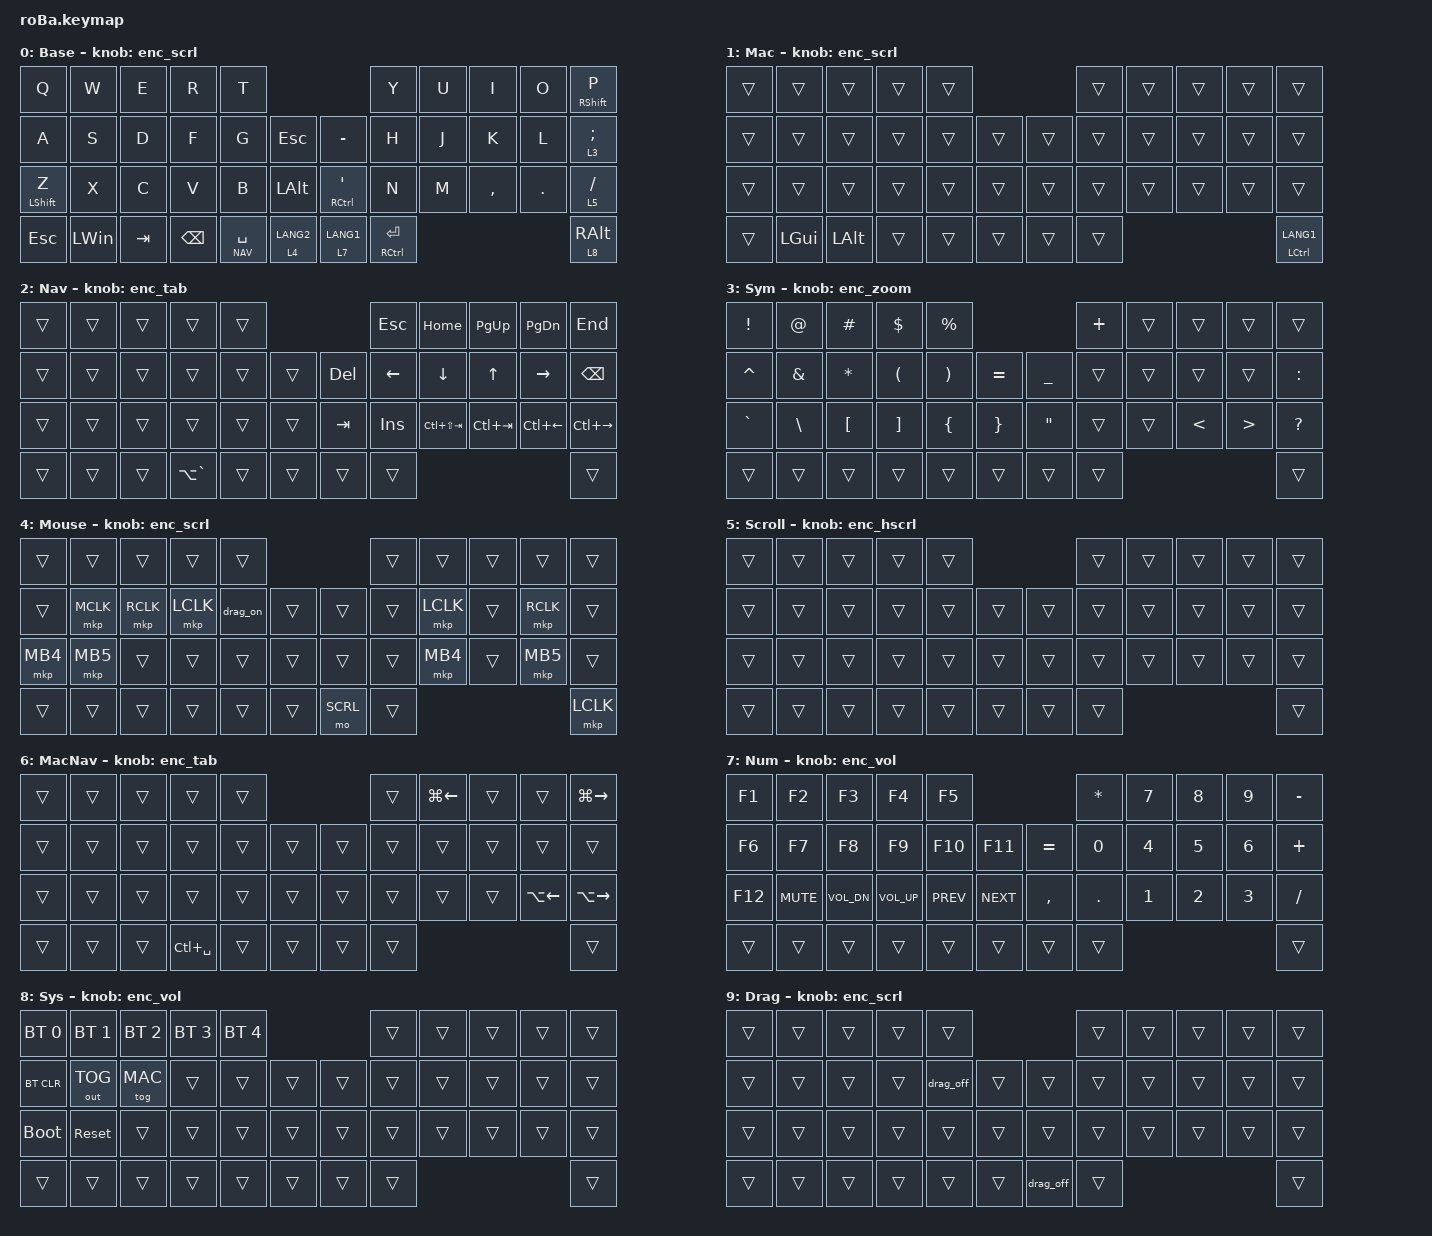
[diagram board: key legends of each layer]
/*
 * roBa keymap  (rev.4)
 *
 * rev.4 の変更点 ─ ドラッグを「普通のマウス」と同じにする
 *   左親指 内 を MOUSE レイヤーに変えた。MOUSE は scroll-layers に入れないので、
 *   押している間もボールはポインタのまま。つまり
 *       左親指 内 を押す → F（左クリック）を押しっぱなし → ボールを転がす
 *   がそのままドラッグになる。普通のマウスと同じ操作。
 *
 *   ボールでのスクロールは MOUSE ＋ 右親指 内 に移動した。
 *   （scroll-layers が有効な間はボールが必ずホイールになるドライバ仕様のため、
 *     「スクロール中だけクリックでポインタに戻す」ことは原理的にできない）
 *   エンコーダは従来どおり何も押さずに回すだけでスクロールする。
 *
 *   オートマウスレイヤーは rev.3 に続き無効。クリックは自分が押したときだけ出る。
 *
 * マウス操作の流れ
 *   ポインタ移動 : キーは何も押さない。ボールは常にポインタを動かす。
 *   クリック     : 左親指 内 ＋ F（左）/ D（右）/ S（中）、または位置42（左）。
 *   ドラッグ     : 左親指 内 ＋ F を押しっぱなし → ボールを転がす → 離してドロップ。
 *                  長距離は G（ドラッグロック）で指を離したまま運べる。
 *   スクロール   : 左親指 内 ＋ 右親指 内 を押しながらボールを転がす。
 *                  またはエンコーダを回す（キー不要）。
 *
 * 日本語入力
 *   英数(IME OFF) = 位置37 / かな(IME ON) = 位置42 のタップ。
 *   HID の LANG2 / LANG1 は Windows(10 1903以降) では VK_IME_OFF / VK_IME_ON、
 *   macOS では 英数 / かな に直結するので OS 別の分岐が要らない。
 *
 * 物理配列（キー位置番号）
 *   row0            0  1  2  3  4                5  6  7  8  9
 *   row1           10 11 12 13 14 15          16 17 18 19 20 21
 *   row2           22 23 24 25 26 27          28 29 30 31 32 33
 *   row3           34 35 36 37 [38 39]      [40 41] 42
 *                  └ 左手下段 ─┘ └左親指┘   └右親指┘ └右手下段
 */
/* エンコーダのスクロール量。既定10だと軽すぎる。
   マウスエミュレーションの既定値は include より「前」に定義すること */

#define ZMK_POINTING_DEFAULT_SCRL_VAL 20

#include <behaviors.dtsi>
#include <dt-bindings/zmk/bt.h>
#include <dt-bindings/zmk/keys.h>
#include <dt-bindings/zmk/outputs.h>
#include <dt-bindings/zmk/pointing.h>

#define BASE  0
#define MAC   1
#define NAV   2
#define SYM   3
#define MOUSE 4   /* ボール = ポインタのまま。scroll-layers に入れないこと */
#define SCRL  5   /* トラックボールが scroll-layers で直接参照する */
#define MNAV  6   /* MAC   + NAV */
#define NUM   7   /* NAV   + SYM */
#define SYS   8   /* MOUSE + SYM */
#define DRAG  9   /* ドラッグロック中だけ ON。必ず最上位に置く */

/ {
    behaviors {
        /* ---- ドラッグロック ----------------------------------------
           drag_on : 左クリックを「押しっぱなし」にして DRAG レイヤーを ON
           drag_off: 左クリックを離して DRAG レイヤーを OFF
           &macro_press で押した behavior は &macro_release されるまで
           解放されない（ZMK v0.3 の behavior_macro.c の仕様）。
           DRAG は最上位レイヤーなので、同じキー位置が自動的に
           drag_on → drag_off に切り替わり、1キートグルとして機能する。 */

        drag_on: drag_on {
            compatible = "zmk,behavior-macro";
            #binding-cells = <0>;
            bindings = <&macro_press>, <&mkp MB1>, <&macro_tap>, <&tog DRAG>;
        };

        drag_off: drag_off {
            compatible = "zmk,behavior-macro";
            #binding-cells = <0>;
            bindings = <&macro_release>, <&mkp MB1>, <&macro_tap>, <&tog DRAG>;
        };

        /* ---- ロータリーエンコーダ ---------------------------------- */

        enc_scrl: enc_scrl {
            compatible = "zmk,behavior-sensor-rotate";
            #sensor-binding-cells = <0>;
            bindings = <&msc SCRL_UP>, <&msc SCRL_DOWN>;

            tap-ms = <20>;
        };

        enc_hscrl: enc_hscrl {
            compatible = "zmk,behavior-sensor-rotate";
            #sensor-binding-cells = <0>;
            bindings = <&msc SCRL_RIGHT>, <&msc SCRL_LEFT>;

            tap-ms = <20>;
        };

        enc_tab: enc_tab {
            compatible = "zmk,behavior-sensor-rotate";
            #sensor-binding-cells = <0>;
            bindings = <&kp LC(TAB)>, <&kp LC(LS(TAB))>;

            tap-ms = <20>;
        };

        enc_vol: enc_vol {
            compatible = "zmk,behavior-sensor-rotate";
            #sensor-binding-cells = <0>;
            bindings = <&kp C_VOL_UP>, <&kp C_VOL_DN>;

            tap-ms = <20>;
        };

        enc_zoom: enc_zoom {
            compatible = "zmk,behavior-sensor-rotate";
            #sensor-binding-cells = <0>;
            bindings = <&kp LC(EQUAL)>, <&kp LC(MINUS)>;

            tap-ms = <20>;
        };
    };

    /* 親指キーが4個しかないぶんを組み合わせで補う。
       then-layer は必ず if-layers より大きい番号にすること */

    conditional_layers { compatible = "zmk,conditional-layers"; };

    combos {
        compatible = "zmk,combos";

        combo_tab {
            key-positions = <11 12>;
            bindings = <&kp TAB>;
            timeout-ms = <35>;
            layers = <BASE MAC>;
        };

        combo_stab {
            key-positions = <12 13>;
            bindings = <&kp LS(TAB)>;
            timeout-ms = <35>;
            layers = <BASE MAC>;
        };

        combo_esc {
            key-positions = <18 19>;
            bindings = <&kp ESC>;
            timeout-ms = <35>;
            layers = <BASE MAC>;
        };

        combo_del {
            key-positions = <19 20>;
            bindings = <&kp DEL>;
            timeout-ms = <35>;
            layers = <BASE MAC>;
        };

        combo_lpar {
            key-positions = <2 12>;
            bindings = <&kp LPAR>;
            timeout-ms = <35>;
            layers = <BASE MAC>;
        };

        combo_rpar {
            key-positions = <3 13>;
            bindings = <&kp RPAR>;
            timeout-ms = <35>;
            layers = <BASE MAC>;
        };

        combo_caps {
            key-positions = <10 21>;
            bindings = <&caps_word>;
            timeout-ms = <50>;
            layers = <BASE MAC>;
        };
    };

    macros {
    };

    keymap {
        compatible = "zmk,keymap";

        /* 最下段: 34=Shift 35=Ctrl 36=Alt 37=英数 | 38=NAV/Space 39=MOUSE || 40=BSpc 41=SYM/Enter | 42=かな/GUI */

        base_layer {
            display-name = "Base";
            bindings = <
&kp Q             &kp W         &kp E    &kp R          &kp T                                           &kp Y            &kp U  &kp I      &kp O    &mt RIGHT_SHIFT P
&kp A             &kp S         &kp D    &kp F          &kp G          &kp ESC           &kp MINUS      &kp H            &kp J  &kp K      &kp L    &lt 3 SEMICOLON
&mt LEFT_SHIFT Z  &kp X         &kp C    &kp V          &kp B          &kp LEFT_ALT      &mt RCTRL SQT  &kp N            &kp M  &kp COMMA  &kp DOT  &lt 5 SLASH
&kp ESC           &kp LEFT_WIN  &kp TAB  &kp BACKSPACE  &lt NAV SPACE  &lt 4 LANG2       &lt 7 LANG1    &mt RCTRL ENTER                             &lt 8 RIGHT_ALT
            >;

            sensor-bindings = <&enc_scrl>;
        };

        /* Windows との差分だけ。SYS レイヤーの &tog MAC で切り替える。
           英数/かな(LANG2/LANG1) は macOS でもそのまま効くので上書き不要 */

        mac_layer {
            display-name = "Mac";
            bindings = <
&trans  &trans    &trans    &trans  &trans                      &trans  &trans  &trans  &trans  &trans
&trans  &trans    &trans    &trans  &trans  &trans      &trans  &trans  &trans  &trans  &trans  &trans
&trans  &trans    &trans    &trans  &trans  &trans      &trans  &trans  &trans  &trans  &trans  &trans
&trans  &kp LGUI  &kp LALT  &trans  &trans  &trans      &trans  &trans                          &mt LCTRL LANG1
            >;

            sensor-bindings = <&enc_scrl>;
        };

        /* 左親指 外 ホールド。右手が移動キーになる。
           37 = 旧式の IME トグル（LANG1/2 が効かない環境の保険）
           親指キー(38-41)は &trans のまま残すこと（NUM/SYS の組み合わせに必要） */

        nav_layer {
            display-name = "Nav";
            bindings = <
&trans  &trans  &trans  &trans         &trans                       &kp ESC   &kp HOME         &kp PG_UP    &kp PG_DN     &kp END
&trans  &trans  &trans  &trans         &trans  &trans      &kp DEL  &kp LEFT  &kp DOWN         &kp UP       &kp RIGHT     &kp BSPC
&trans  &trans  &trans  &trans         &trans  &trans      &kp TAB  &kp INS   &kp LC(LS(TAB))  &kp LC(TAB)  &kp LC(LEFT)  &kp LC(RIGHT)
&trans  &trans  &trans  &kp LA(GRAVE)  &trans  &trans      &trans   &trans                                                &trans
            >;

            sensor-bindings = <&enc_tab>;
        };

        /* 右親指 外 ホールド。左手で記号、右手はベースキーの「シフト面」を同位置に */

        sym_layer {
            display-name = "Sym";
            bindings = <
&kp EXCL   &kp AT    &kp HASH   &kp DLLR  &kp PRCNT                            &kp PLUS  &trans  &trans  &trans  &trans
&kp CARET  &kp AMPS  &kp ASTRK  &kp LPAR  &kp RPAR   &kp EQUAL      &kp UNDER  &trans    &trans  &trans  &trans  &kp COLON
&kp GRAVE  &kp BSLH  &kp LBKT   &kp RBKT  &kp LBRC   &kp RBRC       &kp DQT    &trans    &trans  &kp LT  &kp GT  &kp QMARK
&trans     &trans    &trans     &trans    &trans     &trans         &trans     &trans                            &trans
            >;

            sensor-bindings = <&enc_zoom>;
        };

        /* 左親指 内（位置39）ホールド。マウスボタンはここに全部集約する。
           このレイヤーは scroll-layers に入れないので、押している間もボールは
           ポインタのまま。F を押しっぱなしでボールを転がせばそのままドラッグ。
           位置40 = ボールをホイールに切り替える（右親指 内）。
           位置41 は &trans のまま残すこと（MOUSE + SYM で SYS を出すため）。 */

        mouse_layer {
            display-name = "Mouse";
            bindings = <
&trans    &trans     &trans     &trans     &trans                          &trans  &trans     &trans  &trans     &trans
&trans    &mkp MCLK  &mkp RCLK  &mkp LCLK  &drag_on  &trans      &trans    &trans  &mkp LCLK  &trans  &mkp RCLK  &trans
&mkp MB4  &mkp MB5   &trans     &trans     &trans    &trans      &trans    &trans  &mkp MB4   &trans  &mkp MB5   &trans
&trans    &trans     &trans     &trans     &trans    &trans      &mo SCRL  &trans                                &mkp LCLK
            >;

            sensor-bindings = <&enc_scrl>;
        };

        /* MOUSE ＋ 右親指 内。ここだけボールがホイールになる。
           クリック類は &trans で MOUSE レイヤーに素通しするので、
           スクロール中もそのままクリックできる。 */

        scroll_layer {
            display-name = "Scroll";
            bindings = <
&trans  &trans  &trans  &trans  &trans                      &trans  &trans  &trans  &trans  &trans
&trans  &trans  &trans  &trans  &trans  &trans      &trans  &trans  &trans  &trans  &trans  &trans
&trans  &trans  &trans  &trans  &trans  &trans      &trans  &trans  &trans  &trans  &trans  &trans
&trans  &trans  &trans  &trans  &trans  &trans      &trans  &trans                          &trans
            >;

            sensor-bindings = <&enc_hscrl>;
        };

        /* MAC + NAV。行頭行末と単語移動だけ Mac 流儀に上書き */

        mac_nav_layer {
            display-name = "MacNav";
            bindings = <
&trans  &trans  &trans  &trans         &trans                      &trans  &kp LG(LEFT)  &trans  &trans        &kp LG(RIGHT)
&trans  &trans  &trans  &trans         &trans  &trans      &trans  &trans  &trans        &trans  &trans        &trans
&trans  &trans  &trans  &trans         &trans  &trans      &trans  &trans  &trans        &trans  &kp LA(LEFT)  &kp LA(RIGHT)
&trans  &trans  &trans  &kp LC(SPACE)  &trans  &trans      &trans  &trans                                      &trans
            >;

            sensor-bindings = <&enc_tab>;
        };

        /* NAV + SYM（両手の親指 外を同時ホールド）。右手テンキー・左手ファンクション */

        num_layer {
            display-name = "Num";
            bindings = <
&kp F1   &kp F2      &kp F3        &kp F4        &kp F5                                 &kp ASTRK  &kp N7  &kp N8  &kp N9  &kp MINUS
&kp F6   &kp F7      &kp F8        &kp F9        &kp F10     &kp F11         &kp EQUAL  &kp N0     &kp N4  &kp N5  &kp N6  &kp PLUS
&kp F12  &kp C_MUTE  &kp C_VOL_DN  &kp C_VOL_UP  &kp C_PREV  &kp C_NEXT      &kp COMMA  &kp DOT    &kp N1  &kp N2  &kp N3  &kp SLASH
&trans   &trans      &trans        &trans        &trans      &trans          &trans     &trans                             &trans
            >;

            sensor-bindings = <&enc_vol>;
        };

        /* MOUSE + SYM（左親指 内 ＋ 右親指 外）。滅多に使わないもの専用 */

        sys_layer {
            display-name = "Sys";
            bindings = <
&bt BT_SEL 0  &bt BT_SEL 1  &bt BT_SEL 2  &bt BT_SEL 3  &bt BT_SEL 4                      &trans  &trans  &trans  &trans  &trans
&bt BT_CLR    &out OUT_TOG  &tog MAC      &trans        &trans        &trans      &trans  &trans  &trans  &trans  &trans  &trans
&bootloader   &sys_reset    &trans        &trans        &trans        &trans      &trans  &trans  &trans  &trans  &trans  &trans
&trans        &trans        &trans        &trans        &trans        &trans      &trans  &trans                          &trans
            >;

            sensor-bindings = <&enc_vol>;
        };

        /* ドラッグロック中だけ ON。左クリックが押されたままの状態。
           14(G) か 40(右親指 内) のどちらを押しても解除できる。
           それ以外は全部 &trans なので、ドラッグ中でも普通に文字は打てる */

        drag_layer {
            display-name = "Drag";
            bindings = <
&trans  &trans  &trans  &trans  &trans                            &trans  &trans  &trans  &trans  &trans
&trans  &trans  &trans  &trans  &drag_off  &trans      &trans     &trans  &trans  &trans  &trans  &trans
&trans  &trans  &trans  &trans  &trans     &trans      &trans     &trans  &trans  &trans  &trans  &trans
&trans  &trans  &trans  &trans  &trans     &trans      &drag_off  &trans                          &trans
            >;

            sensor-bindings = <&enc_scrl>;
        };
    };
};

/* Hold-Tap の効き。ホームロウ Mod を使わないので require-prior-idle は入れない
   （入れると「打鍵直後に Space をホールド」が効かなくなる） */

&mt {
    flavor = "balanced";
    tapping-term-ms = <200>;
    quick-tap-ms = <175>;
};

&lt {
    flavor = "balanced";
    tapping-term-ms = <180>;
    quick-tap-ms = <175>;
};

/* automouse-layer は意図的に書かない = オートマウスレイヤー無効。
   scroll-layers に SCRL だけを指定する。MOUSE をここに入れると
   「押している間ボールがホイールに固定される」状態に戻り、
   左クリック長押しでのドラッグができなくなるので入れないこと。 */

&trackball { scroll-layers = <SCRL>; };
